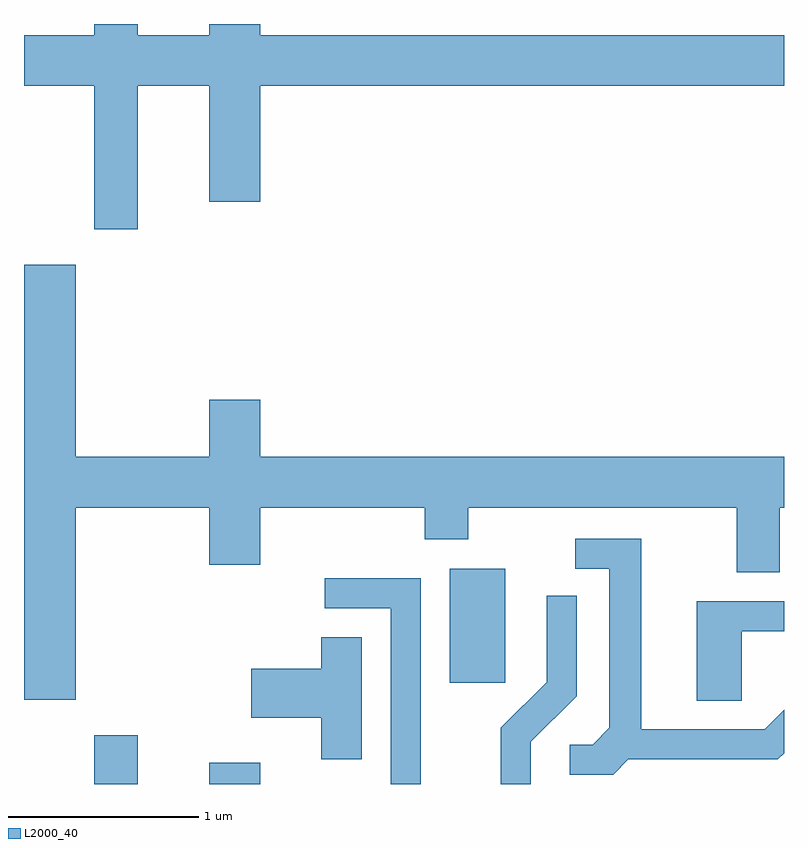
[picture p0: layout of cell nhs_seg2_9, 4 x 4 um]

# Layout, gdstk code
import gdstk
lib = gdstk.Library(unit=1e-6, precision=1e-09)
def R(c, l, rs):  # rectangles x0, y0, x1, y1
    for r in rs: c.add(gdstk.rectangle(r[:2], r[2:], *l))
def P(c, l, *ps):  # polygons
    for p in ps: c.add(gdstk.Polygon(p, *l))
L2000_40 = (2000, 40)

nhs_seg2_9 = lib.new_cell('nhs_seg2_9')
R(nhs_seg2_9, L2000_40, [(185.981,995.802,186.209,996.059), (186.586,995.802,186.854,995.914), (187.851,996.336,188.144,996.934)])
P(nhs_seg2_9, L2000_40, [(186.209,999.476),(186.586,999.476),(186.586,998.866),(186.854,998.866),(186.854,999.476),(189.611,999.476),(189.611,999.744),(186.854,999.744),(186.854,999.802),(186.586,999.802),(186.586,999.744),(186.209,999.744),(186.209,999.802),(185.981,999.802),(185.981,999.744),(185.611,999.744),(185.611,999.476),(185.981,999.476),(185.981,998.721),(186.209,998.721)],
  [(185.884,997.256),(186.586,997.256),(186.586,996.956),(186.854,996.956),(186.854,997.256),(187.721,997.256),(187.721,997.091),(187.949,997.091),(187.949,997.256),(189.361,997.256),(189.361,996.916),(189.589,996.916),(189.589,997.256),(189.611,997.256),(189.611,997.524),(186.854,997.524),(186.854,997.824),(186.586,997.824),(186.586,997.524),(185.884,997.524),(185.884,998.534),(185.611,998.534),(185.611,996.246),(185.884,996.246)],
  [(188.792,995.931),(189.577,995.931),(189.611,995.965),(189.611,996.192),(189.509,996.089),(188.859,996.089),(188.859,997.094),(188.513,997.094),(188.513,996.936),(188.691,996.936),(188.691,996.097),(188.604,996.009),(188.483,996.009),(188.483,995.851),(188.712,995.851)],
  [(187.699,996.884),(187.193,996.884),(187.193,996.726),(187.541,996.726),(187.541,995.802),(187.699,995.802)],
  [(188.279,996.024),(188.519,996.264),(188.519,996.793),(188.361,996.793),(188.361,996.337),(188.121,996.097),(188.121,995.802),(188.279,995.802)],
  [(189.389,996.606),(189.611,996.606),(189.611,996.764),(189.151,996.764),(189.151,996.241),(189.389,996.241)],
  [(187.389,996.574),(187.176,996.574),(187.176,996.409),(186.806,996.409),(186.806,996.151),(187.176,996.151),(187.176,995.931),(187.389,995.931)])

lib.write_gds('nhs_seg2_9.gds')
